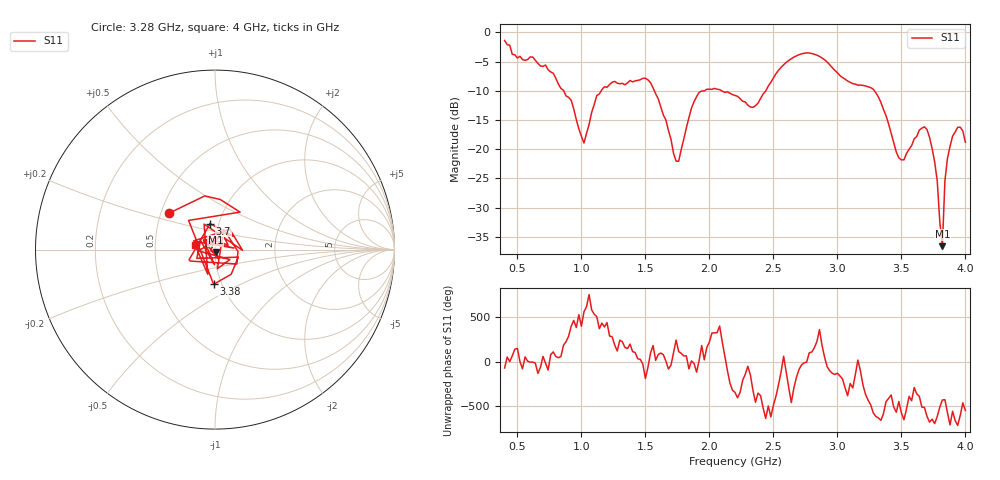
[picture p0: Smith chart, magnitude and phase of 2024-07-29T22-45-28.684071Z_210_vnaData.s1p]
!Created with skrf (http://scikit-rf.org).
# Hz S RI R 50.0
!freq ReS11 ImS11
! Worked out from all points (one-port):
!   181 points, 400 MHz to 4 GHz, reference 50 ohm
!   lowest |S11| = -36.6 dB at 3.82 GHz (marker M1), VSWR 1.03, Z = 50.4 - j1.43 ohm
!   |S11| at or under -10 dB: 1.57 GHz to 1.962 GHz (392.4 MHz wide, 22.2 % of centre); 2.095 GHz to 2.441 GHz (345.7 MHz wide, 15.2 % of centre); 3.289 GHz to end of sweep (the widest 3 of 4)
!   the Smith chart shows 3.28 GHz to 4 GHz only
!   S11 on the Smith chart (normalised r, x): 3.28 GHz: 0.55, +0.25; 3.38 GHz: 0.91, -0.37; 3.7 GHz: 0.91, +0.27; 4 GHz: 0.80, +0.04
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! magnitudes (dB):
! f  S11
! 400 MHz  -1.4
! 500 MHz  -4.4
! 720 MHz  -5.6
! 860 MHz  -9.9
! 920 MHz  -11.6
! 1.02 GHz  -19.0
! 1.12 GHz  -10.8
! 1.3 GHz  -8.8
! 1.54 GHz  -8.6
! 1.76 GHz  -22.1
! 1.86 GHz  -13.0
! 1.92 GHz  -10.3
! 2.2 GHz  -10.8
! 2.34 GHz  -12.8
! 2.66 GHz  -4.2
! 2.84 GHz  -3.9
! 3.1 GHz  -8.6
! 3.28 GHz  -9.7
! 3.38 GHz  -14.3
! 3.48 GHz  -21.5
! 3.56 GHz  -20.0
! 3.7 GHz  -16.6
! 3.78 GHz  -25.4
! 3.82 GHz  -36.6
! 3.84 GHz  -25.4
! 3.88 GHz  -19.5
! 3.94 GHz  -16.3
! 4 GHz  -18.8
